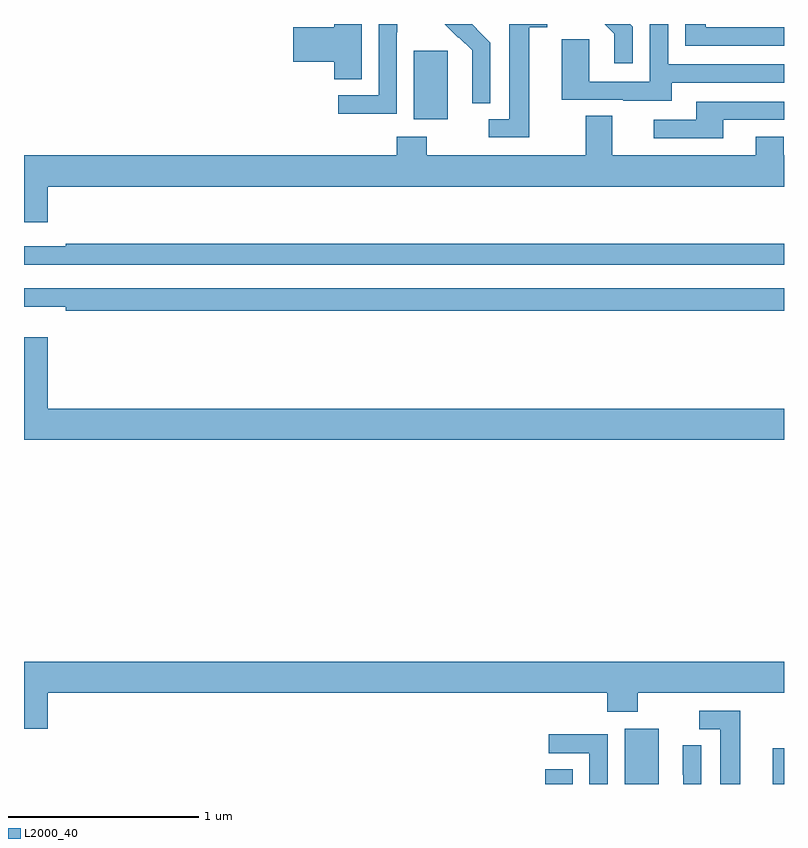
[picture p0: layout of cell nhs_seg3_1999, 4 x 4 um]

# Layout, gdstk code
import gdstk
lib = gdstk.Library(unit=1e-6, precision=1e-09)
def R(c, l, rs):  # rectangles x0, y0, x1, y1
    for r in rs: c.add(gdstk.rectangle(r[:2], r[2:], *l))
def P(c, l, *ps):  # polygons
    for p in ps: c.add(gdstk.Polygon(p, *l))
L2000_40 = (2000, 40)

nhs_seg3_1999 = lib.new_cell('nhs_seg3_1999')
R(nhs_seg3_1999, L2000_40, [(215.744,736.4,215.887,736.478), (216.161,736.4,216.34,736.69), (216.941,736.4,217,736.587), (215.051,739.898,215.23,740.259), (213,740.399,213.019,740.4)])
P(nhs_seg3_1999, L2000_40, [(216.204,740.386),(216.19,740.4),(216.056,740.4),(216.107,740.349),(216.107,740.193),(216.204,740.193)],
  [(215.659,740.384),(215.755,740.384),(215.755,740.4),(215.555,740.4),(215.555,739.899),(215.445,739.899),(215.445,739.803),(215.659,739.803)],
  [(214.777,740.4),(214.634,740.4),(214.634,740.384),(214.416,740.384),(214.416,740.201),(214.634,740.201),(214.634,740.11),(214.777,740.11)],
  [(216.409,740.091),(217,740.091),(217,740.187),(216.39,740.187),(216.39,740.4),(216.294,740.4),(216.294,740.097),(215.976,740.097),(215.976,740.321),(215.831,740.321),(215.831,740.001),(216.155,740.001),(216.155,739.997),(216.409,739.997)],
  [(217,740.382),(216.589,740.382),(216.589,740.4),(216.48,740.4),(216.48,740.286),(217,740.286)],
  [(215.454,740.302),(215.381,740.375),(215.382,740.376),(215.358,740.4),(215.214,740.4),(215.286,740.328),(215.289,740.331),(215.36,740.261),(215.36,740.138),(215.358,740.138),(215.358,739.984),(215.454,739.984)],
  [(214.962,740.356),(214.965,740.356),(214.965,740.4),(214.866,740.4),(214.866,740.025),(214.653,740.025),(214.653,739.927),(214.962,739.927)],
  [(216.679,739.896),(217,739.896),(217,739.992),(216.539,739.992),(216.539,739.896),(216.315,739.896),(216.315,739.8),(216.679,739.8)],
  [(217,739.708),(216.999,739.708),(216.999,739.807),(216.851,739.807),(216.851,739.708),(216.097,739.708),(216.097,739.916),(215.957,739.916),(215.957,739.708),(215.121,739.708),(215.121,739.807),(214.961,739.807),(214.961,739.708),(213,739.708),(213,739.356),(213.124,739.356),(213.124,739.544),(217,739.544)],
  [(217,739.243),(213.22,739.243),(213.22,739.23),(213,739.23),(213,739.134),(217,739.134)],
  [(217,739.008),(213,739.008),(213,738.911),(213.22,738.911),(213.22,738.892),(217,738.892)],
  [(217,738.376),(213.124,738.376),(213.124,738.751),(213,738.751),(213,738.212),(217,738.212)],
  [(213.124,736.88),(216.071,736.88),(216.071,736.781),(216.231,736.781),(216.231,736.88),(217,736.88),(217,737.044),(213,737.044),(213,736.692),(213.124,736.692)],
  [(216.769,736.785),(216.555,736.785),(216.555,736.689),(216.665,736.689),(216.665,736.4),(216.769,736.4)],
  [(216.072,736.662),(215.763,736.662),(215.763,736.563),(215.976,736.563),(215.976,736.4),(216.072,736.4)],
  [(216.564,736.604),(216.468,736.604),(216.468,736.45),(216.47,736.45),(216.47,736.4),(216.564,736.4)])

lib.write_gds('nhs_seg3_1999.gds')
